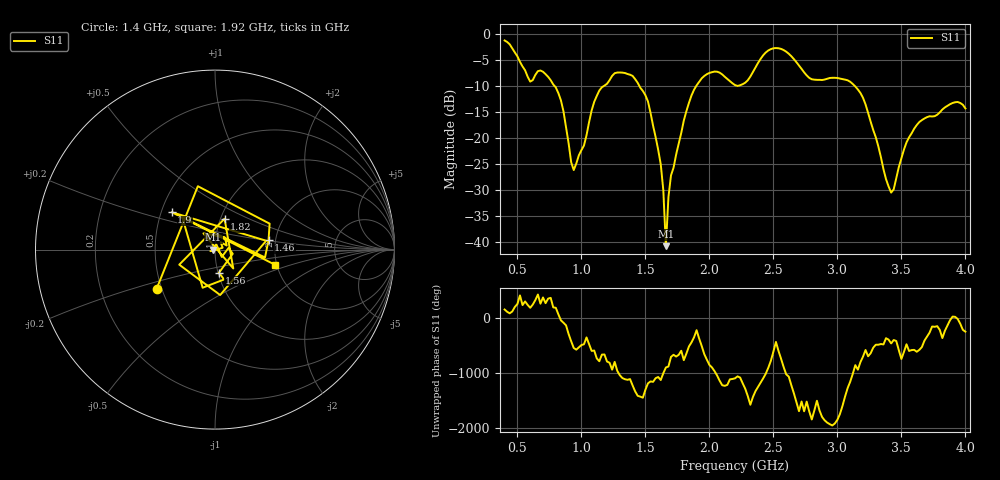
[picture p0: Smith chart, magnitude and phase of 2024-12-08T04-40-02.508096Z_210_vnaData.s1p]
!Created with skrf (http://scikit-rf.org).
# Hz S RI R 50.0
!freq ReS11 ImS11
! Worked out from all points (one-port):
!   181 points, 400 MHz to 4 GHz, reference 50 ohm
!   lowest |S11| = -40.8 dB at 1.66 GHz (marker M1), VSWR 1.02, Z = 49.1 - j0.0089 ohm
!   |S11| at or under -10 dB: 788.8 MHz to 1.179 GHz (389.8 MHz wide, 39.6 % of centre); 1.452 GHz to 1.898 GHz (446.5 MHz wide, 26.7 % of centre); 3.134 GHz to end of sweep (the widest 3 of 4)
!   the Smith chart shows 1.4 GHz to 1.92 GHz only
!   S11 on the Smith chart (normalised r, x): 1.4 GHz: 0.47, -0.24; 1.46 GHz: 1.83, +0.21; 1.56 GHz: 1.01, -0.26; 1.82 GHz: 1.04, +0.37; 1.9 GHz: 0.57, +0.26; 1.92 GHz: 1.96, -0.38
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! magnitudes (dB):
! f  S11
! 400 MHz  -1.3
! 600 MHz  -9.2
! 740 MHz  -8.3
! 860 MHz  -14.9
! 940 MHz  -26.2
! 1.12 GHz  -12.0
! 1.3 GHz  -7.5
! 1.4 GHz  -8.1
! 1.46 GHz  -10.4
! 1.56 GHz  -17.7
! 1.62 GHz  -25.1
! 1.64 GHz  -30.1
! 1.66 GHz  -40.8
! 1.68 GHz  -31.4
! 1.7 GHz  -27.2
! 1.76 GHz  -21.2
! 1.82 GHz  -14.9
! 1.9 GHz  -9.9
! 1.92 GHz  -9.2
! 2.2 GHz  -9.9
! 2.48 GHz  -3.0
! 2.66 GHz  -4.9
! 2.8 GHz  -8.8
! 3.1 GHz  -9.2
! 3.22 GHz  -13.6
! 3.42 GHz  -30.5
! 3.56 GHz  -19.9
! 4 GHz  -14.4
